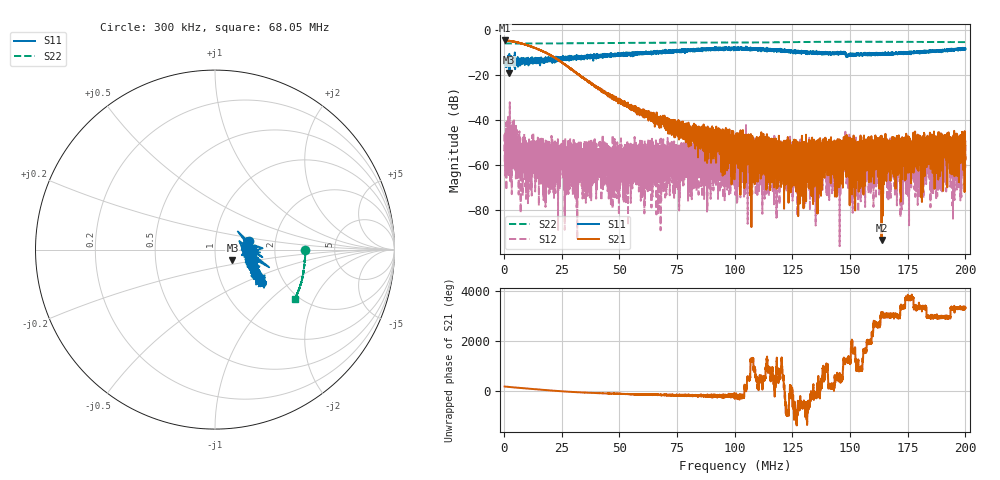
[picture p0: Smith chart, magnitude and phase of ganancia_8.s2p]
# Hz S DB R 50
! CMT, M5065, 19127446, 24.2.4/2
! Date: 11/8/2024 6:31:14 PM
! Data: Format (Calibration Info)
! Freq	S11:dB/Ang(F2)	S21:dB/Ang(F2)	S12:dB/Ang(F2)	S22:dB/Ang(F2)
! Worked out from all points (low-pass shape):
!   9000 points, 300 kHz to 200 MHz, reference 50 ohm
!   highest |S21| = -4.64 dB at 322.2 kHz (marker M1); lowest = -93.4 dB at 163.7 MHz (marker M2)
!   |S21| within 3 dB of the highest: start of sweep to 12.43 MHz; 12.45 MHz to 12.54 MHz (98.2 kHz wide, 0.786 % of centre)
!   lowest |S11| = -19.0 dB at 2.186 MHz (marker M3), VSWR 1.25, Z = 60.3 - j7 ohm
!   |S11| at or under -10 dB: start of sweep to 4.738 MHz; 4.738 MHz to 52.96 MHz (48.22 MHz wide, 167 % of centre); 147.9 MHz to 165.1 MHz (17.15 MHz wide, 11 % of centre)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
!   |S22| runs from -6.0 to -5.2 dB; largest |S21 - S12| = 0.59
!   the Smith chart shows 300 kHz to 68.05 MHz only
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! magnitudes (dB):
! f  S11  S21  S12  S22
! 300 kHz  -14.1  -4.7  -53.2  -6.0
! 322.2 kHz  -14.2  -4.6  -53.7  -6.0
! 2.186 MHz  -19.0  -4.8  -45.4  -6.0
! 10.46 MHz  -14.4  -6.9  -67.6  -6.0
! 12.51 MHz  -13.0  -7.6  -59.0  -6.0
! 17.63 MHz  -13.3  -9.8  -58.2  -5.9
! 33.59 MHz  -11.4  -20.8  -54.9  -5.9
! 44.11 MHz  -11.6  -28.4  -64.7  -5.8
! 46.1 MHz  -11.6  -28.9  -52.3  -5.8
! 48.77 MHz  -10.8  -31.1  -60.8  -5.8
! 66.87 MHz  -9.9  -40.2  -54.3  -5.6
! 100.2 MHz  -7.9  -52.6  -51.0  -5.6
! 120.7 MHz  -9.2  -59.3  -61.9  -5.4
! 133.4 MHz  -10.2  -48.7  -55.1  -5.3
! 146.1 MHz  -10.2  -58.0  -57.7  -5.2
! 147.9 MHz  -10.8  -62.2  -53.8  -5.2
! 150.7 MHz  -10.7  -55.8  -54.0  -5.2
! 157.3 MHz  -10.7  -54.8  -62.4  -5.2
! 163.7 MHz  -10.8  -93.4  -56.2  -5.2
! 166.7 MHz  -10.3  -61.9  -48.6  -5.2
! 198.9 MHz  -8.2  -46.5  -57.5  -5.4
! 200 MHz  -8.3  -56.7  -52.4  -5.4
